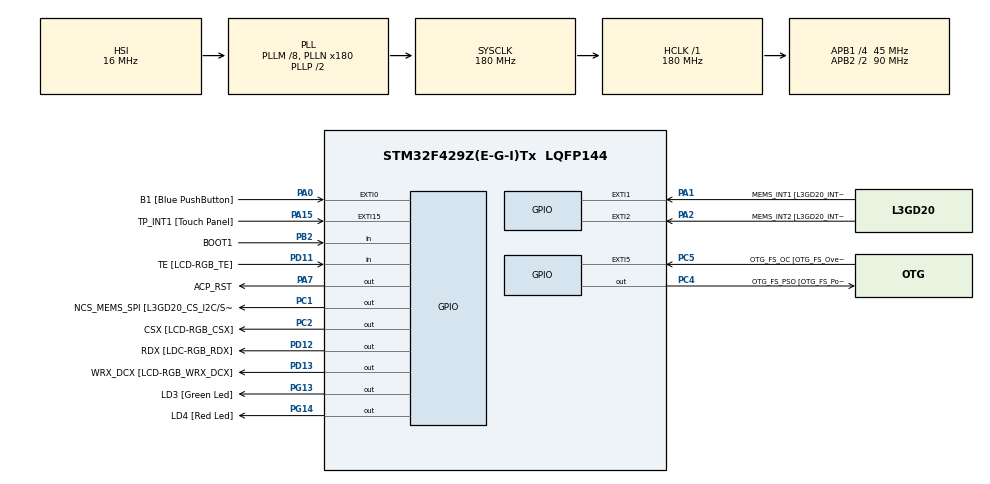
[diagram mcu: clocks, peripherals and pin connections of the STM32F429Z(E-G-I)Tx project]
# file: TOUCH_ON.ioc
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Mcu.Family=STM32F4
Mcu.Name=STM32F429Z(E-G-I)Tx
Mcu.Package=LQFP144
NVIC.PriorityGroup=NVIC_PRIORITYGROUP_0
PA0/WKUP.GPIO_Label=B1 [Blue PushButton]
PA0/WKUP.GPIO_ModeDefaultEXTI=GPIO_MODE_EVT_RISING
PA0/WKUP.GPIO_PuPd=GPIO_NOPULL
PA0/WKUP.Signal=GPXTI0
PA1.GPIO_Label=MEMS_INT1 [L3GD20_INT1]
PA1.GPIO_ModeDefaultEXTI=GPIO_MODE_EVT_RISING
PA1.GPIO_PuPd=GPIO_NOPULL
PA1.Signal=GPXTI1
PA11.GPIO_Label=R4
PA11.GPIO_Mode=GPIO_MODE_AF_PP
PA11.GPIO_PuPd=GPIO_NOPULL
PA11.GPIO_Speed=GPIO_SPEED_FREQ_LOW
PA11.Signal=LTDC_R4
PA12.GPIO_Label=R5
PA12.GPIO_Mode=GPIO_MODE_AF_PP
PA12.GPIO_PuPd=GPIO_NOPULL
PA12.GPIO_Speed=GPIO_SPEED_FREQ_LOW
PA12.Signal=LTDC_R5
PA13.GPIO_Label=SWDIO
PA13.Mode=Serial_Wire
PA13.Signal=SYS_JTMS-SWDIO
PA14.GPIO_Label=SWCLK
PA14.Mode=Serial_Wire
PA14.Signal=SYS_JTCK-SWCLK
PA15.GPIO_Label=TP_INT1 [Touch Panel]
PA15.GPIO_ModeDefaultEXTI=GPIO_MODE_EVT_RISING
PA15.GPIO_PuPd=GPIO_NOPULL
PA15.Signal=GPXTI15
PA2.GPIO_Label=MEMS_INT2 [L3GD20_INT2]
PA2.GPIO_ModeDefaultEXTI=GPIO_MODE_EVT_RISING
PA2.GPIO_PuPd=GPIO_NOPULL
PA2.Signal=GPXTI2
PA3.GPIO_Label=B5
PA3.GPIO_Mode=GPIO_MODE_AF_PP
PA3.GPIO_PuPd=GPIO_NOPULL
PA3.GPIO_Speed=GPIO_SPEED_FREQ_LOW
PA3.Signal=LTDC_B5
PA4.GPIO_Label=VSYNC
PA4.GPIO_Mode=GPIO_MODE_AF_PP
PA4.GPIO_PuPd=GPIO_NOPULL
PA4.GPIO_Speed=GPIO_SPEED_FREQ_LOW
PA4.Signal=LTDC_VSYNC
PA6.GPIO_Label=G2
PA6.GPIO_Mode=GPIO_MODE_AF_PP
PA6.GPIO_PuPd=GPIO_NOPULL
PA6.GPIO_Speed=GPIO_SPEED_FREQ_LOW
PA6.Signal=LTDC_G2
PA7.GPIO_Label=ACP_RST
PA7.GPIO_Mode=GPIO_MODE_OUTPUT_PP
PA7.GPIO_PuPd=GPIO_NOPULL
PA7.GPIO_Speed=GPIO_SPEED_FREQ_LOW
PA7.Signal=GPIO_Output
PA8.GPIO_Label=I2C3_SCL [ACP/RF_SCL]
PA8.GPIO_Mode=GPIO_MODE_AF_OD
PA8.GPIO_PuPd=GPIO_NOPULL
PA8.GPIO_Speed=GPIO_SPEED_FREQ_LOW
PA8.Signal=I2C3_SCL
PB0.GPIO_Label=R3
PB0.GPIO_Mode=GPIO_MODE_AF_PP
PB0.GPIO_PuPd=GPIO_NOPULL
PB0.GPIO_Speed=GPIO_SPEED_FREQ_LOW
PB0.Signal=LTDC_R3
PB1.GPIO_Label=R6
PB1.GPIO_Mode=GPIO_MODE_AF_PP
PB1.GPIO_PuPd=GPIO_NOPULL
PB1.GPIO_Speed=GPIO_SPEED_FREQ_LOW
PB1.Signal=LTDC_R6
PB10.GPIO_Label=G4
PB10.GPIO_Mode=GPIO_MODE_AF_PP
PB10.GPIO_PuPd=GPIO_NOPULL
PB10.GPIO_Speed=GPIO_SPEED_FREQ_LOW
PB10.Signal=LTDC_G4
PB11.GPIO_Label=G5
PB11.GPIO_Mode=GPIO_MODE_AF_PP
PB11.GPIO_PuPd=GPIO_NOPULL
PB11.GPIO_Speed=GPIO_SPEED_FREQ_LOW
PB11.Signal=LTDC_G5
PB12.GPIO_Label=OTG_FS_ID
PB12.GPIO_Mode=GPIO_MODE_AF_PP
PB12.GPIO_PuPd=GPIO_NOPULL
PB12.GPIO_Speed=GPIO_SPEED_FREQ_LOW
PB12.Signal=USB_OTG_HS_ID
PB13.GPIO_Label=VBUS_FS
PB13.GPIO_Mode=GPIO_MODE_INPUT
PB13.GPIO_PuPd=GPIO_NOPULL
PB13.Signal=USB_OTG_HS_VBUS
PB14.GPIO_Label=OTG_FS_DM
PB14.GPIO_Mode=GPIO_MODE_AF_PP
PB14.GPIO_PuPd=GPIO_NOPULL
PB14.GPIO_Speed=GPIO_SPEED_FREQ_LOW
PB14.Signal=USB_OTG_HS_DM
PB15.GPIO_Label=OTG_FS_DP
PB15.GPIO_Mode=GPIO_MODE_AF_PP
PB15.GPIO_PuPd=GPIO_NOPULL
PB15.GPIO_Speed=GPIO_SPEED_FREQ_LOW
PB15.Signal=USB_OTG_HS_DP
PB2/BOOT1.GPIO_Label=BOOT1
PB2/BOOT1.GPIO_Mode=GPIO_MODE_INPUT
PB2/BOOT1.GPIO_PuPd=GPIO_NOPULL
PB2/BOOT1.Signal=GPIO_Input
PB5.GPIO_Label=SDCKE1
PB5.GPIO_Mode=GPIO_MODE_AF_PP
PB5.GPIO_PuPd=GPIO_NOPULL
PB5.GPIO_Speed=GPIO_SPEED_FREQ_VERY_HIGH
PB5.Signal=FMC_SDCKE1
PB6.GPIO_Label=SDNE1 [SDRAM_CS]
PB6.GPIO_Mode=GPIO_MODE_AF_PP
PB6.GPIO_PuPd=GPIO_NOPULL
PB6.GPIO_Speed=GPIO_SPEED_FREQ_VERY_HIGH
PB6.Signal=FMC_SDNE1
PB8.GPIO_Label=B6
PB8.GPIO_Mode=GPIO_MODE_AF_PP
PB8.GPIO_PuPd=GPIO_NOPULL
PB8.GPIO_Speed=GPIO_SPEED_FREQ_LOW
PB8.Signal=LTDC_B6
PB9.GPIO_Label=B7
PB9.GPIO_Mode=GPIO_MODE_AF_PP
PB9.GPIO_PuPd=GPIO_NOPULL
PB9.GPIO_Speed=GPIO_SPEED_FREQ_LOW
PB9.Signal=LTDC_B7
PC0.GPIO_Label=SDNWE
PC0.GPIO_Mode=GPIO_MODE_AF_PP
PC0.GPIO_PuPd=GPIO_NOPULL
PC0.GPIO_Speed=GPIO_SPEED_FREQ_VERY_HIGH
PC0.Signal=FMC_SDNWE
PC1.GPIO_Label=NCS_MEMS_SPI [L3GD20_CS_I2C/SPI]
PC1.GPIO_Mode=GPIO_MODE_OUTPUT_PP
PC1.GPIO_PuPd=GPIO_NOPULL
PC1.GPIO_Speed=GPIO_SPEED_FREQ_LOW
PC1.Signal=GPIO_Output
PC10.GPIO_Label=R2
PC10.GPIO_Mode=GPIO_MODE_AF_PP
PC10.GPIO_PuPd=GPIO_NOPULL
PC10.GPIO_Speed=GPIO_SPEED_FREQ_LOW
PC10.Signal=LTDC_R2
PC14/OSC32_IN.GPIO_Label=PC14-OSC32_IN
PC14/OSC32_IN.Signal=RCC_OSC32_IN
PC15/OSC32_OUT.GPIO_Label=PC15-OSC32_OUT
PC15/OSC32_OUT.Signal=RCC_OSC32_OUT
PC2.GPIO_Label=CSX [LCD-RGB_CSX]
PC2.GPIO_Mode=GPIO_MODE_OUTPUT_PP
PC2.GPIO_PuPd=GPIO_NOPULL
PC2.GPIO_Speed=GPIO_SPEED_FREQ_LOW
PC2.Signal=GPIO_Output
PC4.GPIO_Label=OTG_FS_PSO [OTG_FS_PowerSwitchOn]
PC4.GPIO_Mode=GPIO_MODE_OUTPUT_PP
PC4.GPIO_PuPd=GPIO_NOPULL
PC4.GPIO_Speed=GPIO_SPEED_FREQ_LOW
PC4.Signal=GPIO_Output
PC5.GPIO_Label=OTG_FS_OC [OTG_FS_OverCurrent]
PC5.GPIO_ModeDefaultEXTI=GPIO_MODE_EVT_RISING
PC5.Signal=GPXTI5
PC6.GPIO_Label=HSYNC
PC6.GPIO_Mode=GPIO_MODE_AF_PP
PC6.GPIO_PuPd=GPIO_NOPULL
PC6.GPIO_Speed=GPIO_SPEED_FREQ_LOW
PC6.Signal=LTDC_HSYNC
PC7.GPIO_Label=G6
PC7.GPIO_Mode=GPIO_MODE_AF_PP
PC7.GPIO_PuPd=GPIO_NOPULL
PC7.GPIO_Speed=GPIO_SPEED_FREQ_LOW
PC7.Signal=LTDC_G6
PC9.GPIO_Label=I2C3_SDA [ACP/RF_SDA]
PC9.GPIO_Mode=GPIO_MODE_AF_OD
PC9.GPIO_PuPd=GPIO_NOPULL
PC9.GPIO_Speed=GPIO_SPEED_FREQ_LOW
PC9.Signal=I2C3_SDA
PD0.GPIO_Label=D2
PD0.GPIO_Mode=GPIO_MODE_AF_PP
PD0.GPIO_PuPd=GPIO_NOPULL
PD0.GPIO_Speed=GPIO_SPEED_FREQ_VERY_HIGH
PD0.Signal=FMC_D2_DA2
PD1.GPIO_Label=D3
PD1.GPIO_Mode=GPIO_MODE_AF_PP
PD1.GPIO_PuPd=GPIO_NOPULL
PD1.GPIO_Speed=GPIO_SPEED_FREQ_VERY_HIGH
PD1.Signal=FMC_D3_DA3
PD10.GPIO_Label=D15
PD10.GPIO_Mode=GPIO_MODE_AF_PP
PD10.GPIO_PuPd=GPIO_NOPULL
PD10.GPIO_Speed=GPIO_SPEED_FREQ_VERY_HIGH
PD10.Signal=FMC_D15_DA15
PD11.GPIO_Label=TE [LCD-RGB_TE]
PD11.GPIO_Mode=GPIO_MODE_INPUT
PD11.GPIO_PuPd=GPIO_NOPULL
PD11.Signal=GPIO_Input
PD12.GPIO_Label=RDX [LDC-RGB_RDX]
PD12.GPIO_Mode=GPIO_MODE_OUTPUT_PP
PD12.GPIO_PuPd=GPIO_NOPULL
PD12.GPIO_Speed=GPIO_SPEED_FREQ_LOW
PD12.Signal=GPIO_Output
PD13.GPIO_Label=WRX_DCX [LCD-RGB_WRX_DCX]
PD13.GPIO_Mode=GPIO_MODE_OUTPUT_PP
PD13.GPIO_PuPd=GPIO_NOPULL
PD13.GPIO_Speed=GPIO_SPEED_FREQ_LOW
PD13.Signal=GPIO_Output
PD14.GPIO_Label=D0
PD14.GPIO_Mode=GPIO_MODE_AF_PP
PD14.GPIO_PuPd=GPIO_NOPULL
PD14.GPIO_Speed=GPIO_SPEED_FREQ_VERY_HIGH
PD14.Signal=FMC_D0_DA0
PD15.GPIO_Label=D1
PD15.GPIO_Mode=GPIO_MODE_AF_PP
PD15.GPIO_PuPd=GPIO_NOPULL
PD15.GPIO_Speed=GPIO_SPEED_FREQ_VERY_HIGH
PD15.Signal=FMC_D1_DA1
PD3.GPIO_Label=G7
PD3.GPIO_Mode=GPIO_MODE_AF_PP
PD3.GPIO_PuPd=GPIO_NOPULL
PD3.GPIO_Speed=GPIO_SPEED_FREQ_LOW
PD3.Signal=LTDC_G7
PD6.GPIO_Label=B2
PD6.GPIO_Mode=GPIO_MODE_AF_PP
PD6.GPIO_PuPd=GPIO_NOPULL
PD6.GPIO_Speed=GPIO_SPEED_FREQ_LOW
PD6.Signal=LTDC_B2
PD8.GPIO_Label=D13
PD8.GPIO_Mode=GPIO_MODE_AF_PP
PD8.GPIO_PuPd=GPIO_NOPULL
PD8.GPIO_Speed=GPIO_SPEED_FREQ_VERY_HIGH
PD8.Signal=FMC_D13_DA13
PD9.GPIO_Label=D14
PD9.GPIO_Mode=GPIO_MODE_AF_PP
PD9.GPIO_PuPd=GPIO_NOPULL
PD9.GPIO_Speed=GPIO_SPEED_FREQ_VERY_HIGH
PD9.Signal=FMC_D14_DA14
PE0.GPIO_Label=NBL0 [SDRAM_LDQM]
PE0.GPIO_Mode=GPIO_MODE_AF_PP
PE0.GPIO_PuPd=GPIO_NOPULL
PE0.GPIO_Speed=GPIO_SPEED_FREQ_VERY_HIGH
PE0.Signal=FMC_NBL0
PE1.GPIO_Label=NBL1 [SDRAM_UDQM]
PE1.GPIO_Mode=GPIO_MODE_AF_PP
PE1.GPIO_PuPd=GPIO_NOPULL
PE1.GPIO_Speed=GPIO_SPEED_FREQ_VERY_HIGH
PE1.Signal=FMC_NBL1
PE10.GPIO_Label=D7
PE10.GPIO_Mode=GPIO_MODE_AF_PP
PE10.GPIO_PuPd=GPIO_NOPULL
PE10.GPIO_Speed=GPIO_SPEED_FREQ_VERY_HIGH
PE10.Signal=FMC_D7_DA7
PE11.GPIO_Label=D8
PE11.GPIO_Mode=GPIO_MODE_AF_PP
PE11.GPIO_PuPd=GPIO_NOPULL
PE11.GPIO_Speed=GPIO_SPEED_FREQ_VERY_HIGH
PE11.Signal=FMC_D8_DA8
PE12.GPIO_Label=D9
PE12.GPIO_Mode=GPIO_MODE_AF_PP
PE12.GPIO_PuPd=GPIO_NOPULL
PE12.GPIO_Speed=GPIO_SPEED_FREQ_VERY_HIGH
PE12.Signal=FMC_D9_DA9
PE13.GPIO_Label=D10
PE13.GPIO_Mode=GPIO_MODE_AF_PP
PE13.GPIO_PuPd=GPIO_NOPULL
PE13.GPIO_Speed=GPIO_SPEED_FREQ_VERY_HIGH
PE13.Signal=FMC_D10_DA10
PE14.GPIO_Label=D11
PE14.GPIO_Mode=GPIO_MODE_AF_PP
PE14.GPIO_PuPd=GPIO_NOPULL
PE14.GPIO_Speed=GPIO_SPEED_FREQ_VERY_HIGH
PE14.Signal=FMC_D11_DA11
PE15.GPIO_Label=D12
PE15.GPIO_Mode=GPIO_MODE_AF_PP
PE15.GPIO_PuPd=GPIO_NOPULL
PE15.GPIO_Speed=GPIO_SPEED_FREQ_VERY_HIGH
PE15.Signal=FMC_D12_DA12
PE7.GPIO_Label=D4
PE7.GPIO_Mode=GPIO_MODE_AF_PP
PE7.GPIO_PuPd=GPIO_NOPULL
PE7.GPIO_Speed=GPIO_SPEED_FREQ_VERY_HIGH
PE7.Signal=FMC_D4_DA4
PE8.GPIO_Label=D5
PE8.GPIO_Mode=GPIO_MODE_AF_PP
PE8.GPIO_PuPd=GPIO_NOPULL
PE8.GPIO_Speed=GPIO_SPEED_FREQ_VERY_HIGH
PE8.Signal=FMC_D5_DA5
PE9.GPIO_Label=D6
PE9.GPIO_Mode=GPIO_MODE_AF_PP
PE9.GPIO_PuPd=GPIO_NOPULL
PE9.GPIO_Speed=GPIO_SPEED_FREQ_VERY_HIGH
PE9.Signal=FMC_D6_DA6
PF0.GPIO_Label=A0
PF0.GPIO_Mode=GPIO_MODE_AF_PP
PF0.GPIO_PuPd=GPIO_NOPULL
PF0.GPIO_Speed=GPIO_SPEED_FREQ_VERY_HIGH
PF0.Signal=FMC_A0
PF1.GPIO_Label=A1
PF1.GPIO_Mode=GPIO_MODE_AF_PP
PF1.GPIO_PuPd=GPIO_NOPULL
PF1.GPIO_Speed=GPIO_SPEED_FREQ_VERY_HIGH
PF1.Signal=FMC_A1
PF10.GPIO_Label=ENABLE [LCD-RGB_ENABLE]
PF10.GPIO_Mode=GPIO_MODE_AF_PP
PF10.GPIO_PuPd=GPIO_NOPULL
PF10.GPIO_Speed=GPIO_SPEED_FREQ_LOW
PF10.Signal=LTDC_DE
PF11.GPIO_Label=SDNRAS
PF11.GPIO_Mode=GPIO_MODE_AF_PP
PF11.GPIO_PuPd=GPIO_NOPULL
PF11.GPIO_Speed=GPIO_SPEED_FREQ_VERY_HIGH
PF11.Signal=FMC_SDNRAS
PF12.GPIO_Label=A6
PF12.GPIO_Mode=GPIO_MODE_AF_PP
PF12.GPIO_PuPd=GPIO_NOPULL
PF12.GPIO_Speed=GPIO_SPEED_FREQ_VERY_HIGH
PF12.Signal=FMC_A6
PF13.GPIO_Label=A7
PF13.GPIO_Mode=GPIO_MODE_AF_PP
PF13.GPIO_PuPd=GPIO_NOPULL
PF13.GPIO_Speed=GPIO_SPEED_FREQ_VERY_HIGH
PF13.Signal=FMC_A7
PF14.GPIO_Label=A8
PF14.GPIO_Mode=GPIO_MODE_AF_PP
PF14.GPIO_PuPd=GPIO_NOPULL
PF14.GPIO_Speed=GPIO_SPEED_FREQ_VERY_HIGH
PF14.Signal=FMC_A8
PF15.GPIO_Label=A9
PF15.GPIO_Mode=GPIO_MODE_AF_PP
PF15.GPIO_PuPd=GPIO_NOPULL
PF15.GPIO_Speed=GPIO_SPEED_FREQ_VERY_HIGH
PF15.Signal=FMC_A9
PF2.GPIO_Label=A2
PF2.GPIO_Mode=GPIO_MODE_AF_PP
PF2.GPIO_PuPd=GPIO_NOPULL
PF2.GPIO_Speed=GPIO_SPEED_FREQ_VERY_HIGH
PF2.Signal=FMC_A2
PF3.GPIO_Label=A3
PF3.GPIO_Mode=GPIO_MODE_AF_PP
PF3.GPIO_PuPd=GPIO_NOPULL
PF3.GPIO_Speed=GPIO_SPEED_FREQ_VERY_HIGH
PF3.Signal=FMC_A3
PF4.GPIO_Label=A4
PF4.GPIO_Mode=GPIO_MODE_AF_PP
PF4.GPIO_PuPd=GPIO_NOPULL
PF4.GPIO_Speed=GPIO_SPEED_FREQ_VERY_HIGH
PF4.Signal=FMC_A4
PF5.GPIO_Label=A5
PF5.GPIO_Mode=GPIO_MODE_AF_PP
PF5.GPIO_PuPd=GPIO_NOPULL
PF5.GPIO_Speed=GPIO_SPEED_FREQ_VERY_HIGH
PF5.Signal=FMC_A5
PF7.GPIO_Label=SPI5_SCK [L3GD20_SCL/SPC]
PF7.GPIO_Mode=GPIO_MODE_AF_PP
PF7.GPIO_PuPd=GPIO_NOPULL
PF7.GPIO_Speed=GPIO_SPEED_FREQ_LOW
PF7.Signal=SPI5_SCK
PF8.GPIO_Label=SPI5_MISO [L3GD20_SDO]
PF8.GPIO_Mode=GPIO_MODE_AF_PP
PF8.GPIO_PuPd=GPIO_NOPULL
PF8.GPIO_Speed=GPIO_SPEED_FREQ_LOW
PF8.Signal=SPI5_MISO
PF9.GPIO_Label=SPI5_MOSI [L3GD20_SDA/SDI/SDO]
PF9.GPIO_Mode=GPIO_MODE_AF_PP
PF9.GPIO_PuPd=GPIO_NOPULL
PF9.GPIO_Speed=GPIO_SPEED_FREQ_LOW
PF9.Signal=SPI5_MOSI
PG0.GPIO_Label=A10
PG0.GPIO_Mode=GPIO_MODE_AF_PP
PG0.GPIO_PuPd=GPIO_NOPULL
PG0.GPIO_Speed=GPIO_SPEED_FREQ_VERY_HIGH
PG0.Signal=FMC_A10
PG1.GPIO_Label=A11
PG1.GPIO_Mode=GPIO_MODE_AF_PP
PG1.GPIO_PuPd=GPIO_NOPULL
PG1.GPIO_Speed=GPIO_SPEED_FREQ_VERY_HIGH
PG1.Signal=FMC_A11
PG10.GPIO_Label=G3
PG10.GPIO_Mode=GPIO_MODE_AF_PP
PG10.GPIO_PuPd=GPIO_NOPULL
PG10.GPIO_Speed=GPIO_SPEED_FREQ_LOW
PG10.Signal=LTDC_G3
PG11.GPIO_Label=B3
PG11.GPIO_Mode=GPIO_MODE_AF_PP
PG11.GPIO_PuPd=GPIO_NOPULL
PG11.GPIO_Speed=GPIO_SPEED_FREQ_LOW
PG11.Signal=LTDC_B3
PG12.GPIO_Label=B4
PG12.GPIO_Mode=GPIO_MODE_AF_PP
PG12.GPIO_PuPd=GPIO_NOPULL
PG12.GPIO_Speed=GPIO_SPEED_FREQ_LOW
PG12.Signal=LTDC_B4
PG13.GPIO_Label=LD3 [Green Led]
PG13.GPIO_Mode=GPIO_MODE_OUTPUT_PP
PG13.GPIO_PuPd=GPIO_NOPULL
PG13.GPIO_Speed=GPIO_SPEED_FREQ_LOW
PG13.Signal=GPIO_Output
PG14.GPIO_Label=LD4 [Red Led]
PG14.GPIO_Mode=GPIO_MODE_OUTPUT_PP
PG14.GPIO_PuPd=GPIO_NOPULL
PG14.GPIO_Speed=GPIO_SPEED_FREQ_LOW
PG14.Signal=GPIO_Output
PG15.GPIO_Label=SDNCAS
PG15.GPIO_Mode=GPIO_MODE_AF_PP
PG15.GPIO_PuPd=GPIO_NOPULL
PG15.GPIO_Speed=GPIO_SPEED_FREQ_VERY_HIGH
PG15.Signal=FMC_SDNCAS
PG4.GPIO_Label=BA0
PG4.GPIO_Mode=GPIO_MODE_AF_PP
PG4.GPIO_PuPd=GPIO_NOPULL
PG4.GPIO_Speed=GPIO_SPEED_FREQ_VERY_HIGH
PG4.Signal=FMC_A14_BA0
PG5.GPIO_Label=BA1
PG5.GPIO_Mode=GPIO_MODE_AF_PP
PG5.GPIO_PuPd=GPIO_NOPULL
PG5.GPIO_Speed=GPIO_SPEED_FREQ_VERY_HIGH
PG5.Signal=FMC_A15_BA1
PG6.GPIO_Label=R7
PG6.GPIO_Mode=GPIO_MODE_AF_PP
PG6.GPIO_PuPd=GPIO_NOPULL
PG6.GPIO_Speed=GPIO_SPEED_FREQ_LOW
PG6.Signal=LTDC_R7
PG7.GPIO_Label=DOTCLK [LCT-RGB_DOTCLK]
PG7.GPIO_Mode=GPIO_MODE_AF_PP
PG7.GPIO_PuPd=GPIO_NOPULL
PG7.GPIO_Speed=GPIO_SPEED_FREQ_LOW
PG7.Signal=LTDC_CLK
PG8.GPIO_Label=SDCLK
PG8.GPIO_Mode=GPIO_MODE_AF_PP
PG8.GPIO_PuPd=GPIO_NOPULL
PG8.GPIO_Speed=GPIO_SPEED_FREQ_VERY_HIGH
PG8.Signal=FMC_SDCLK
PH0/OSC_IN.GPIO_Label=PH0-OSC_IN
PH0/OSC_IN.Mode=HSE-External-Oscillator
PH0/OSC_IN.Signal=RCC_OSC_IN
PH1/OSC_OUT.GPIO_Label=PH1-OSC_OUT
PH1/OSC_OUT.Mode=HSE-External-Oscillator
PH1/OSC_OUT.Signal=RCC_OSC_OUT
ProjectManager.HeapSize=0x200
ProjectManager.StackSize=0x400
ProjectManager.TargetToolchain=MDK-ARM V5
RCC.48MHZClocksFreq_Value=51428571.428571425
RCC.AHBFreq_Value=180000000
RCC.APB1CLKDivider=RCC_HCLK_DIV4
RCC.APB1Freq_Value=45000000
RCC.APB1TimFreq_Value=90000000
RCC.APB2CLKDivider=RCC_HCLK_DIV2
RCC.APB2Freq_Value=90000000
RCC.APB2TimFreq_Value=180000000
RCC.CortexFreq_Value=180000000
RCC.HCLKFreq_Value=180000000
RCC.HSE_VALUE=8000000
RCC.HSI_VALUE=16000000
RCC.LSE_VALUE=32768
RCC.PLLM=8
RCC.PLLN=180
RCC.PLLQ=7
RCC.SYSCLKFreq_VALUE=180000000
RCC.SYSCLKSource=RCC_SYSCLKSOURCE_PLLCLK
RCC.VCOOutputFreq_Value=360000000
SH.FMC_A0.0=FMC_A0
SH.FMC_A1.0=FMC_A1
SH.FMC_A10.0=FMC_A10
SH.FMC_A11.0=FMC_A11
SH.FMC_A14_BA0.0=FMC_BA0
SH.FMC_A15_BA1.0=FMC_BA1
SH.FMC_A2.0=FMC_A2
SH.FMC_A3.0=FMC_A3
SH.FMC_A4.0=FMC_A4
SH.FMC_A5.0=FMC_A5
SH.FMC_A6.0=FMC_A6
SH.FMC_A7.0=FMC_A7
SH.FMC_A8.0=FMC_A8
SH.FMC_A9.0=FMC_A9
SH.FMC_D0_DA0.0=FMC_D0
SH.FMC_D10_DA10.0=FMC_D10
SH.FMC_D11_DA11.0=FMC_D11
SH.FMC_D12_DA12.0=FMC_D12
SH.FMC_D13_DA13.0=FMC_D13
SH.FMC_D14_DA14.0=FMC_D14
SH.FMC_D15_DA15.0=FMC_D15
SH.FMC_D1_DA1.0=FMC_D1
SH.FMC_D2_DA2.0=FMC_D2
SH.FMC_D3_DA3.0=FMC_D3
SH.FMC_D4_DA4.0=FMC_D4
SH.FMC_D5_DA5.0=FMC_D5
SH.FMC_D6_DA6.0=FMC_D6
SH.FMC_D7_DA7.0=FMC_D7
SH.FMC_D8_DA8.0=FMC_D8
SH.FMC_D9_DA9.0=FMC_D9
SH.FMC_NBL0.0=FMC_NBL0
SH.FMC_NBL1.0=FMC_NBL1
SH.FMC_SDCLK.0=FMC_SDCLK
SH.FMC_SDNCAS.0=FMC_SDNCAS
SH.FMC_SDNRAS.0=FMC_SDNRAS
SH.FMC_SDNWE.0=FMC_SDNWE
board=STM32F429I-DISCO

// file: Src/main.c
/**
  ******************************************************************************
  * File Name          : main.c
  * Description        : Main program body
  ******************************************************************************
  *
  * COPYRIGHT(c) 2017 STMicroelectronics
  *
  * Redistribution and use in source and binary forms, with or without modification,
  * are permitted provided that the following conditions are met:
  *   1. Redistributions of source code must retain the above copyright notice,
  *      this list of conditions and the following disclaimer.
  *   2. Redistributions in binary form must reproduce the above copyright notice,
  *      this list of conditions and the following disclaimer in the documentation
  *      and/or other materials provided with the distribution.
  *   3. Neither the name of STMicroelectronics nor the names of its contributors
  *      may be used to endorse or promote products derived from this software
  *      without specific prior written permission.
  *
  * THIS SOFTWARE IS PROVIDED BY THE COPYRIGHT HOLDERS AND CONTRIBUTORS "AS IS"
  * AND ANY EXPRESS OR IMPLIED WARRANTIES, INCLUDING, BUT NOT LIMITED TO, THE
  * IMPLIED WARRANTIES OF MERCHANTABILITY AND FITNESS FOR A PARTICULAR PURPOSE ARE
  * DISCLAIMED. IN NO EVENT SHALL THE COPYRIGHT HOLDER OR CONTRIBUTORS BE LIABLE
  * FOR ANY DIRECT, INDIRECT, INCIDENTAL, SPECIAL, EXEMPLARY, OR CONSEQUENTIAL
  * DAMAGES (INCLUDING, BUT NOT LIMITED TO, PROCUREMENT OF SUBSTITUTE GOODS OR
  * SERVICES; LOSS OF USE, DATA, OR PROFITS; OR BUSINESS INTERRUPTION) HOWEVER
  * CAUSED AND ON ANY THEORY OF LIABILITY, WHETHER IN CONTRACT, STRICT LIABILITY,
  * OR TORT (INCLUDING NEGLIGENCE OR OTHERWISE) ARISING IN ANY WAY OUT OF THE USE
  * OF THIS SOFTWARE, EVEN IF ADVISED OF THE POSSIBILITY OF SUCH DAMAGE.
  *
  ******************************************************************************
  */
#include "main.h"
#include "stm32f4xx_hal.h"

/* USER CODE BEGIN Includes */
#include "stm32f429i_discovery.h"
#include "stm32f429i_discovery_lcd.h"
#include "stm32f429i_discovery_ts.h"
/* USER CODE END Includes */

/* USER CODE BEGIN PV */
/* Private variables ---------------------------------------------------------*/

/* USER CODE END PV */

void SystemClock_Config(void);
void Error_Handler(void);
static void MX_GPIO_Init(void);

/* USER CODE BEGIN PFP */
/* Private function prototypes -----------------------------------------------*/
static void DefaultDraw(void);
static void TouchDifference(void);
/* USER CODE END PFP */

int main(void)
{

  /* MCU Configuration----------------------------------------------------------*/

  /* Reset of all peripherals, Initializes the Flash interface and the Systick. */
  HAL_Init();

  /* Configure the system clock */
  SystemClock_Config();

  /* Initialize all configured peripherals */
  MX_GPIO_Init();

  /* USER CODE BEGIN 2 */

	/* Initialize the LCD */
  BSP_LCD_Init();
  /* Initialize TS on whole screen */
  BSP_TS_Init(240, 320);

  /* Select Layer */
  BSP_LCD_LayerDefaultInit(1, SDRAM_DEVICE_ADDR);
  BSP_LCD_SelectLayer(1);

  BSP_LCD_DisplayOn();
  /* LCD background color */
  BSP_LCD_Clear(LCD_COLOR_LIGHTBLUE);
  /* Text background color */
  BSP_LCD_SetBackColor(LCD_COLOR_WHITE);
  /* Text color */
  BSP_LCD_SetTextColor(LCD_COLOR_RED);

  /* USER CODE END 2 */

  /* Infinite loop */
  while (1)
  {

  /* USER CODE BEGIN 3 */
		DefaultDraw();
		TouchDifference();

  }
  /* USER CODE END 3 */

}

/** System Clock Configuration
*/
void SystemClock_Config(void)
{

  RCC_OscInitTypeDef RCC_OscInitStruct;
  RCC_ClkInitTypeDef RCC_ClkInitStruct;

    /**Configure the main internal regulator output voltage
    */
  __HAL_RCC_PWR_CLK_ENABLE();

  __HAL_PWR_VOLTAGESCALING_CONFIG(PWR_REGULATOR_VOLTAGE_SCALE1);

    /**Initializes the CPU, AHB and APB busses clocks
    */
  RCC_OscInitStruct.OscillatorType = RCC_OSCILLATORTYPE_HSI;
  RCC_OscInitStruct.HSIState = RCC_HSI_ON;
  RCC_OscInitStruct.HSICalibrationValue = 16;
  RCC_OscInitStruct.PLL.PLLState = RCC_PLL_ON;
  RCC_OscInitStruct.PLL.PLLSource = RCC_PLLSOURCE_HSI;
  RCC_OscInitStruct.PLL.PLLM = 8;
  RCC_OscInitStruct.PLL.PLLN = 180;
  RCC_OscInitStruct.PLL.PLLP = RCC_PLLP_DIV2;
  RCC_OscInitStruct.PLL.PLLQ = 7;
  if (HAL_RCC_OscConfig(&RCC_OscInitStruct) != HAL_OK)
  {
    Error_Handler();
  }

    /**Activate the Over-Drive mode
    */
  if (HAL_PWREx_EnableOverDrive() != HAL_OK)
  {
    Error_Handler();
  }

    /**Initializes the CPU, AHB and APB busses clocks
    */
  RCC_ClkInitStruct.ClockType = RCC_CLOCKTYPE_HCLK|RCC_CLOCKTYPE_SYSCLK
                              |RCC_CLOCKTYPE_PCLK1|RCC_CLOCKTYPE_PCLK2;
  RCC_ClkInitStruct.SYSCLKSource = RCC_SYSCLKSOURCE_PLLCLK;
  RCC_ClkInitStruct.AHBCLKDivider = RCC_SYSCLK_DIV1;
  RCC_ClkInitStruct.APB1CLKDivider = RCC_HCLK_DIV4;
  RCC_ClkInitStruct.APB2CLKDivider = RCC_HCLK_DIV2;

  if (HAL_RCC_ClockConfig(&RCC_ClkInitStruct, FLASH_LATENCY_5) != HAL_OK)
  {
    Error_Handler();
  }

    /**Configure the Systick interrupt time
    */
  HAL_SYSTICK_Config(HAL_RCC_GetHCLKFreq()/1000);

    /**Configure the Systick
    */
  HAL_SYSTICK_CLKSourceConfig(SYSTICK_CLKSOURCE_HCLK);

  /* SysTick_IRQn interrupt configuration */
  HAL_NVIC_SetPriority(SysTick_IRQn, 0, 0);
}

/** Configure pins as
        * Analog
        * Input
        * Output
        * EVENT_OUT
        * EXTI
     PF0   ------> FMC_A0
     PF1   ------> FMC_A1
     PF2   ------> FMC_A2
     PF3   ------> FMC_A3
     PF4   ------> FMC_A4
     PF5   ------> FMC_A5
     PF7   ------> SPI5_SCK
     PF8   ------> SPI5_MISO
     PF9   ------> SPI5_MOSI
     PF10   ------> LTDC_DE
     PC0   ------> FMC_SDNWE
     PA3   ------> LTDC_B5
     PA4   ------> LTDC_VSYNC
     PA6   ------> LTDC_G2
     PB0   ------> LTDC_R3
     PB1   ------> LTDC_R6
     PF11   ------> FMC_SDNRAS
     PF12   ------> FMC_A6
     PF13   ------> FMC_A7
     PF14   ------> FMC_A8
     PF15   ------> FMC_A9
     PG0   ------> FMC_A10
     PG1   ------> FMC_A11
     PE7   ------> FMC_D4_DA4
     PE8   ------> FMC_D5_DA5
     PE9   ------> FMC_D6_DA6
     PE10   ------> FMC_D7_DA7
     PE11   ------> FMC_D8_DA8
     PE12   ------> FMC_D9_DA9
     PE13   ------> FMC_D10_DA10
     PE14   ------> FMC_D11_DA11
     PE15   ------> FMC_D12_DA12
     PB10   ------> LTDC_G4
     PB11   ------> LTDC_G5
     PB12   ------> USB_OTG_HS_ID
     PB13   ------> USB_OTG_HS_VBUS
     PB14   ------> USB_OTG_HS_DM
     PB15   ------> USB_OTG_HS_DP
     PD8   ------> FMC_D13_DA13
     PD9   ------> FMC_D14_DA14
     PD10   ------> FMC_D15_DA15
     PD14   ------> FMC_D0_DA0
     PD15   ------> FMC_D1_DA1
     PG4   ------> FMC_A14_BA0
     PG5   ------> FMC_A15_BA1
     PG6   ------> LTDC_R7
     PG7   ------> LTDC_CLK
     PG8   ------> FMC_SDCLK
     PC6   ------> LTDC_HSYNC
     PC7   ------> LTDC_G6
     PC9   ------> I2C3_SDA
     PA8   ------> I2C3_SCL
     PA11   ------> LTDC_R4
     PA12   ------> LTDC_R5
     PC10   ------> LTDC_R2
     PD0   ------> FMC_D2_DA2
     PD1   ------> FMC_D3_DA3
     PD3   ------> LTDC_G7
     PD6   ------> LTDC_B2
     PG10   ------> LTDC_G3
     PG11   ------> LTDC_B3
     PG12   ------> LTDC_B4
     PG15   ------> FMC_SDNCAS
     PB5   ------> FMC_SDCKE1
     PB6   ------> FMC_SDNE1
     PB8   ------> LTDC_B6
     PB9   ------> LTDC_B7
     PE0   ------> FMC_NBL0
     PE1   ------> FMC_NBL1
*/
static void MX_GPIO_Init(void)
{

  GPIO_InitTypeDef GPIO_InitStruct;

  /* GPIO Ports Clock Enable */
  __HAL_RCC_GPIOC_CLK_ENABLE();
  __HAL_RCC_GPIOF_CLK_ENABLE();
  __HAL_RCC_GPIOH_CLK_ENABLE();
  __HAL_RCC_GPIOA_CLK_ENABLE();
  __HAL_RCC_GPIOB_CLK_ENABLE();
  __HAL_RCC_GPIOG_CLK_ENABLE();
  __HAL_RCC_GPIOE_CLK_ENABLE();
  __HAL_RCC_GPIOD_CLK_ENABLE();

  /*Configure GPIO pins : A0_Pin A1_Pin A2_Pin A3_Pin
                           A4_Pin A5_Pin SDNRAS_Pin A6_Pin
                           A7_Pin A8_Pin A9_Pin */
  GPIO_InitStruct.Pin = A0_Pin|A1_Pin|A2_Pin|A3_Pin
                          |A4_Pin|A5_Pin|SDNRAS_Pin|A6_Pin
                          |A7_Pin|A8_Pin|A9_Pin;
  GPIO_InitStruct.Mode = GPIO_MODE_AF_PP;
  GPIO_InitStruct.Pull = GPIO_NOPULL;
  GPIO_InitStruct.Speed = GPIO_SPEED_FREQ_VERY_HIGH;
  GPIO_InitStruct.Alternate = GPIO_AF12_FMC;
  HAL_GPIO_Init(GPIOF, &GPIO_InitStruct);

  /*Configure GPIO pins : SPI5_SCK_Pin SPI5_MISO_Pin SPI5_MOSI_Pin */
  GPIO_InitStruct.Pin = SPI5_SCK_Pin|SPI5_MISO_Pin|SPI5_MOSI_Pin;
  GPIO_InitStruct.Mode = GPIO_MODE_AF_PP;
  GPIO_InitStruct.Pull = GPIO_NOPULL;
  GPIO_InitStruct.Speed = GPIO_SPEED_FREQ_LOW;
  GPIO_InitStruct.Alternate = GPIO_AF5_SPI5;
  HAL_GPIO_Init(GPIOF, &GPIO_InitStruct);

  /*Configure GPIO pin : ENABLE_Pin */
  GPIO_InitStruct.Pin = ENABLE_Pin;
  GPIO_InitStruct.Mode = GPIO_MODE_AF_PP;
  GPIO_InitStruct.Pull = GPIO_NOPULL;
  GPIO_InitStruct.Speed = GPIO_SPEED_FREQ_LOW;
  GPIO_InitStruct.Alternate = GPIO_AF14_LTDC;
  HAL_GPIO_Init(ENABLE_GPIO_Port, &GPIO_InitStruct);

  /*Configure GPIO pin : SDNWE_Pin */
  GPIO_InitStruct.Pin = SDNWE_Pin;
  GPIO_InitStruct.Mode = GPIO_MODE_AF_PP;
  GPIO_InitStruct.Pull = GPIO_NOPULL;
  GPIO_InitStruct.Speed = GPIO_SPEED_FREQ_VERY_HIGH;
  GPIO_InitStruct.Alternate = GPIO_AF12_FMC;
  HAL_GPIO_Init(SDNWE_GPIO_Port, &GPIO_InitStruct);

  /*Configure GPIO pins : NCS_MEMS_SPI_Pin CSX_Pin OTG_FS_PSO_Pin */
  GPIO_InitStruct.Pin = NCS_MEMS_SPI_Pin|CSX_Pin|OTG_FS_PSO_Pin;
  GPIO_InitStruct.Mode = GPIO_MODE_OUTPUT_PP;
  GPIO_InitStruct.Pull = GPIO_NOPULL;
  GPIO_InitStruct.Speed = GPIO_SPEED_FREQ_LOW;
  HAL_GPIO_Init(GPIOC, &GPIO_InitStruct);

  /*Configure GPIO pins : B1_Pin MEMS_INT1_Pin MEMS_INT2_Pin TP_INT1_Pin */
  GPIO_InitStruct.Pin = B1_Pin|MEMS_INT1_Pin|MEMS_INT2_Pin|TP_INT1_Pin;
  GPIO_InitStruct.Mode = GPIO_MODE_EVT_RISING;
  GPIO_InitStruct.Pull = GPIO_NOPULL;
  HAL_GPIO_Init(GPIOA, &GPIO_InitStruct);

  /*Configure GPIO pins : B5_Pin VSYNC_Pin G2_Pin R4_Pin
                           R5_Pin */
  GPIO_InitStruct.Pin = B5_Pin|VSYNC_Pin|G2_Pin|R4_Pin
                          |R5_Pin;
  GPIO_InitStruct.Mode = GPIO_MODE_AF_PP;
  GPIO_InitStruct.Pull = GPIO_NOPULL;
  GPIO_InitStruct.Speed = GPIO_SPEED_FREQ_LOW;
  GPIO_InitStruct.Alternate = GPIO_AF14_LTDC;
  HAL_GPIO_Init(GPIOA, &GPIO_InitStruct);

  /*Configure GPIO pin : ACP_RST_Pin */
  GPIO_InitStruct.Pin = ACP_RST_Pin;
  GPIO_InitStruct.Mode = GPIO_MODE_OUTPUT_PP;
  GPIO_InitStruct.Pull = GPIO_NOPULL;
  GPIO_InitStruct.Speed = GPIO_SPEED_FREQ_LOW;
  HAL_GPIO_Init(ACP_RST_GPIO_Port, &GPIO_InitStruct);

  /*Configure GPIO pin : OTG_FS_OC_Pin */
  GPIO_InitStruct.Pin = OTG_FS_OC_Pin;
  GPIO_InitStruct.Mode = GPIO_MODE_EVT_RISING;
  GPIO_InitStruct.Pull = GPIO_NOPULL;
  HAL_GPIO_Init(OTG_FS_OC_GPIO_Port, &GPIO_InitStruct);

  /*Configure GPIO pins : R3_Pin R6_Pin */
  GPIO_InitStruct.Pin = R3_Pin|R6_Pin;
  GPIO_InitStruct.Mode = GPIO_MODE_AF_PP;
  GPIO_InitStruct.Pull = GPIO_NOPULL;
  GPIO_InitStruct.Speed = GPIO_SPEED_FREQ_LOW;
  GPIO_InitStruct.Alternate = GPIO_AF9_LTDC;
  HAL_GPIO_Init(GPIOB, &GPIO_InitStruct);

  /*Configure GPIO pin : BOOT1_Pin */
  GPIO_InitStruct.Pin = BOOT1_Pin;
  GPIO_InitStruct.Mode = GPIO_MODE_INPUT;
  GPIO_InitStruct.Pull = GPIO_NOPULL;
  HAL_GPIO_Init(BOOT1_GPIO_Port, &GPIO_InitStruct);

  /*Configure GPIO pins : A10_Pin A11_Pin BA0_Pin BA1_Pin
                           SDCLK_Pin SDNCAS_Pin */
  GPIO_InitStruct.Pin = A10_Pin|A11_Pin|BA0_Pin|BA1_Pin
                          |SDCLK_Pin|SDNCAS_Pin;
  GPIO_InitStruct.Mode = GPIO_MODE_AF_PP;
  GPIO_InitStruct.Pull = GPIO_NOPULL;
  GPIO_InitStruct.Speed = GPIO_SPEED_FREQ_VERY_HIGH;
  GPIO_InitStruct.Alternate = GPIO_AF12_FMC;
  HAL_GPIO_Init(GPIOG, &GPIO_InitStruct);

  /*Configure GPIO pins : D4_Pin D5_Pin D6_Pin D7_Pin
                           D8_Pin D9_Pin D10_Pin D11_Pin
                           D12_Pin NBL0_Pin NBL1_Pin */
  GPIO_InitStruct.Pin = D4_Pin|D5_Pin|D6_Pin|D7_Pin
                          |D8_Pin|D9_Pin|D10_Pin|D11_Pin
                          |D12_Pin|NBL0_Pin|NBL1_Pin;
  GPIO_InitStruct.Mode = GPIO_MODE_AF_PP;
  GPIO_InitStruct.Pull = GPIO_NOPULL;
  GPIO_InitStruct.Speed = GPIO_SPEED_FREQ_VERY_HIGH;
  GPIO_InitStruct.Alternate = GPIO_AF12_FMC;
  HAL_GPIO_Init(GPIOE, &GPIO_InitStruct);

  /*Configure GPIO pins : G4_Pin G5_Pin B6_Pin B7_Pin */
  GPIO_InitStruct.Pin = G4_Pin|G5_Pin|B6_Pin|B7_Pin;
  GPIO_InitStruct.Mode = GPIO_MODE_AF_PP;
  GPIO_InitStruct.Pull = GPIO_NOPULL;
  GPIO_InitStruct.Speed = GPIO_SPEED_FREQ_LOW;
  GPIO_InitStruct.Alternate = GPIO_AF14_LTDC;
  HAL_GPIO_Init(GPIOB, &GPIO_InitStruct);

  /*Configure GPIO pins : OTG_FS_ID_Pin OTG_FS_DM_Pin OTG_FS_DP_Pin */
  GPIO_InitStruct.Pin = OTG_FS_ID_Pin|OTG_FS_DM_Pin|OTG_FS_DP_Pin;
  GPIO_InitStruct.Mode = GPIO_MODE_AF_PP;
  GPIO_InitStruct.Pull = GPIO_NOPULL;
  GPIO_InitStruct.Speed = GPIO_SPEED_FREQ_LOW;
  GPIO_InitStruct.Alternate = GPIO_AF12_OTG_HS_FS;
  HAL_GPIO_Init(GPIOB, &GPIO_InitStruct);

  /*Configure GPIO pin : VBUS_FS_Pin */
  GPIO_InitStruct.Pin = VBUS_FS_Pin;
  GPIO_InitStruct.Mode = GPIO_MODE_INPUT;
  GPIO_InitStruct.Pull = GPIO_NOPULL;
  HAL_GPIO_Init(VBUS_FS_GPIO_Port, &GPIO_InitStruct);

  /*Configure GPIO pins : D13_Pin D14_Pin D15_Pin D0_Pin
                           D1_Pin D2_Pin D3_Pin */
  GPIO_InitStruct.Pin = D13_Pin|D14_Pin|D15_Pin|D0_Pin
                          |D1_Pin|D2_Pin|D3_Pin;
  GPIO_InitStruct.Mode = GPIO_MODE_AF_PP;
  GPIO_InitStruct.Pull = GPIO_NOPULL;
  GPIO_InitStruct.Speed = GPIO_SPEED_FREQ_VERY_HIGH;
  GPIO_InitStruct.Alternate = GPIO_AF12_FMC;
  HAL_GPIO_Init(GPIOD, &GPIO_InitStruct);

  /*Configure GPIO pin : TE_Pin */
  GPIO_InitStruct.Pin = TE_Pin;
  GPIO_InitStruct.Mode = GPIO_MODE_INPUT;
  GPIO_InitStruct.Pull = GPIO_NOPULL;
  HAL_GPIO_Init(TE_GPIO_Port, &GPIO_InitStruct);

  /*Configure GPIO pins : RDX_Pin WRX_DCX_Pin */
  GPIO_InitStruct.Pin = RDX_Pin|WRX_DCX_Pin;
  GPIO_InitStruct.Mode = GPIO_MODE_OUTPUT_PP;
  GPIO_InitStruct.Pull = GPIO_NOPULL;
  GPIO_InitStruct.Speed = GPIO_SPEED_FREQ_LOW;
  HAL_GPIO_Init(GPIOD, &GPIO_InitStruct);

  /*Configure GPIO pins : R7_Pin DOTCLK_Pin B3_Pin */
  GPIO_InitStruct.Pin = R7_Pin|DOTCLK_Pin|B3_Pin;
  GPIO_InitStruct.Mode = GPIO_MODE_AF_PP;
  GPIO_InitStruct.Pull = GPIO_NOPULL;
  GPIO_InitStruct.Speed = GPIO_SPEED_FREQ_LOW;
  GPIO_InitStruct.Alternate = GPIO_AF14_LTDC;
  HAL_GPIO_Init(GPIOG, &GPIO_InitStruct);

  /*Configure GPIO pins : HSYNC_Pin G6_Pin R2_Pin */
  GPIO_InitStruct.Pin = HSYNC_Pin|G6_Pin|R2_Pin;
  GPIO_InitStruct.Mode = GPIO_MODE_AF_PP;
  GPIO_InitStruct.Pull = GPIO_NOPULL;
  GPIO_InitStruct.Speed = GPIO_SPEED_FREQ_LOW;
  GPIO_InitStruct.Alternate = GPIO_AF14_LTDC;
  HAL_GPIO_Init(GPIOC, &GPIO_InitStruct);

  /*Configure GPIO pin : I2C3_SDA_Pin */
  GPIO_InitStruct.Pin = I2C3_SDA_Pin;
  GPIO_InitStruct.Mode = GPIO_MODE_AF_OD;
  GPIO_InitStruct.Pull = GPIO_PULLUP;
  GPIO_InitStruct.Speed = GPIO_SPEED_FREQ_LOW;
  GPIO_InitStruct.Alternate = GPIO_AF4_I2C3;
  HAL_GPIO_Init(I2C3_SDA_GPIO_Port, &GPIO_InitStruct);

  /*Configure GPIO pin : I2C3_SCL_Pin */
  GPIO_InitStruct.Pin = I2C3_SCL_Pin;
  GPIO_InitStruct.Mode = GPIO_MODE_AF_OD;
  GPIO_InitStruct.Pull = GPIO_PULLUP;
  GPIO_InitStruct.Speed = GPIO_SPEED_FREQ_LOW;
  GPIO_InitStruct.Alternate = GPIO_AF4_I2C3;
  HAL_GPIO_Init(I2C3_SCL_GPIO_Port, &GPIO_InitStruct);

  /*Configure GPIO pins : G7_Pin B2_Pin */
  GPIO_InitStruct.Pin = G7_Pin|B2_Pin;
  GPIO_InitStruct.Mode = GPIO_MODE_AF_PP;
  GPIO_InitStruct.Pull = GPIO_NOPULL;
  GPIO_InitStruct.Speed = GPIO_SPEED_FREQ_LOW;
  GPIO_InitStruct.Alternate = GPIO_AF14_LTDC;
  HAL_GPIO_Init(GPIOD, &GPIO_InitStruct);

  /*Configure GPIO pins : G3_Pin B4_Pin */
  GPIO_InitStruct.Pin = G3_Pin|B4_Pin;
  GPIO_InitStruct.Mode = GPIO_MODE_AF_PP;
  GPIO_InitStruct.Pull = GPIO_NOPULL;
  GPIO_InitStruct.Speed = GPIO_SPEED_FREQ_LOW;
  GPIO_InitStruct.Alternate = GPIO_AF9_LTDC;
  HAL_GPIO_Init(GPIOG, &GPIO_InitStruct);

  /*Configure GPIO pins : LD3_Pin LD4_Pin */
  GPIO_InitStruct.Pin = LD3_Pin|LD4_Pin;
  GPIO_InitStruct.Mode = GPIO_MODE_OUTPUT_PP;
  GPIO_InitStruct.Pull = GPIO_NOPULL;
  GPIO_InitStruct.Speed = GPIO_SPEED_FREQ_LOW;
  HAL_GPIO_Init(GPIOG, &GPIO_InitStruct);

  /*Configure GPIO pins : SDCKE1_Pin SDNE1_Pin */
  GPIO_InitStruct.Pin = SDCKE1_Pin|SDNE1_Pin;
  GPIO_InitStruct.Mode = GPIO_MODE_AF_PP;
  GPIO_InitStruct.Pull = GPIO_NOPULL;
  GPIO_InitStruct.Speed = GPIO_SPEED_FREQ_VERY_HIGH;
  GPIO_InitStruct.Alternate = GPIO_AF12_FMC;
  HAL_GPIO_Init(GPIOB, &GPIO_InitStruct);

  /*Configure GPIO pin Output Level */
  HAL_GPIO_WritePin(GPIOC, NCS_MEMS_SPI_Pin|CSX_Pin|OTG_FS_PSO_Pin, GPIO_PIN_RESET);

  /*Configure GPIO pin Output Level */
  HAL_GPIO_WritePin(ACP_RST_GPIO_Port, ACP_RST_Pin, GPIO_PIN_RESET);

  /*Configure GPIO pin Output Level */
  HAL_GPIO_WritePin(GPIOD, RDX_Pin|WRX_DCX_Pin, GPIO_PIN_RESET);

  /*Configure GPIO pin Output Level */
  HAL_GPIO_WritePin(GPIOG, LD3_Pin|LD4_Pin, GPIO_PIN_RESET);

}

/* USER CODE BEGIN 4 */
/**
	* @brief Draws initial screen
	* @param None
	* @retval None
	*/
static void DefaultDraw(void) {

	BSP_LCD_DisplayStringAt(0, 40, "LCD Test", CENTER_MODE);

	/* 1st button */
	BSP_LCD_DrawRect(0, 245, 80, 70);
	BSP_LCD_FillRect(0, 245, 80, 70);

	/* 2nd button */
	BSP_LCD_DrawRect(85, 245, 75, 70);
	BSP_LCD_FillRect(85, 245, 75, 70);

	/* 3rd button */
	BSP_LCD_DrawRect(165, 245, 75, 70);
	BSP_LCD_FillRect(165, 245, 75, 70);
}

/**
	* @brief Checks if screen was touched
	* @param None
	* @retval None
	*/
static void TouchDifference(void) {

	static TS_StateTypeDef  TS_State;
	static uint32_t x = 0, y = 0;

	/* Get touch screen position */
	BSP_TS_GetState(&TS_State);
	x = TS_State.X;
	y = TS_State.Y;

	/* Checks if touch is detected */
	if(TS_State.TouchDetected){

		/* All buttons are located in same Y area
		 * Y axis only needs to be checked once
		 */
		if(y > 245 & y < 315) {
			/* Checks if 1st button is pressed */
			if(x > 0 & x <80) {

				BSP_LCD_SetTextColor(LCD_COLOR_RED);
				BSP_LCD_DisplayStringAt(0, 120, "Start", CENTER_MODE);

				/* Checks if 2nd button is pressed */
			} else if(x > 85 & x < 160) {
				BSP_LCD_SetTextColor(LCD_COLOR_GREEN);

				/* Checks if 3rd button is pressed */
			} else {

				BSP_LCD_SetTextColor(LCD_COLOR_YELLOW);

			}
		}
	}
}
/* USER CODE END 4 */

void Error_Handler(void)
{
  while(1)
  {
  }
}

/************************ (C) COPYRIGHT STMicroelectronics *****END OF FILE****/
